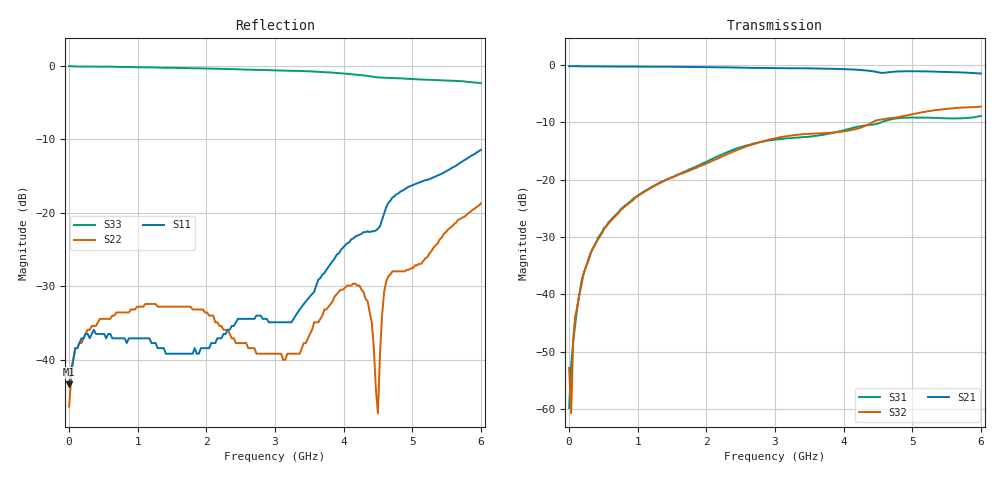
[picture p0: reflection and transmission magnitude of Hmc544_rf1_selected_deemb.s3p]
!Hittite Microwave Corporation
!20 Alpha Rd
!Chelmsford, MA 01824
!Tel: 978-250-3343
!Fax: 978-250-3373
!Device: HMC544, DC - 3 GHz  SPDT Switch in  SOT26 SMT package
!Misc: Port1=RFC, Port2= RF1, Port3=RF2, RF1 ON, Data taken on a part mounted on 101659-4 Eval PCB,Bias: +5VDC
# MHZ S MA R 50
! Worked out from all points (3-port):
!   201 points, 50 kHz to 6 GHz, reference 50 ohm
!   strongest paths, dB at 50 kHz, 1.5 GHz, 3 GHz, 4.5 GHz, 6 GHz:
!     S21: -0.2, -0.3, -0.6, -1.3, -1.5
!     S32: -52.9, -19.7, -12.8, -9.6, -7.3
!     S31: -59.8, -19.6, -13.0, -10.2, -8.9
!   lowest |S11| = -43.4 dB at 50 kHz (marker M1), VSWR 1.01, Z = 50.6 - j0.316 ohm
!   |S11| at or under -10 dB: start of sweep to end of sweep
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0.05  0.006796 -27.4  0.975 -0.2  0.0009298 -60.2
      0.975 -0.2  0.004801 -10.8  0.00413 -37.3
      0.001018 123.6  0.002276 -18.3  0.998 -0.4
30.05  0.008623 -10.1  0.974 -1.3  0.001394 113.8
       0.974 -1.3  0.00752 -2.1  0.0001448 -55.2
       0.00245 116.0  0.0009148 136.3  0.996 -1.6
60.049  0.01 8.1  0.974 -2.4  0.003722 107.8
        0.974 -2.4  0.01 8.1  0.003848 106.7
        0.003886 108.4  0.004114 110.9  0.995 -2.9
90.049  0.012 17.4  0.975 -3.6  0.005951 102.4
        0.975 -3.6  0.012 15.9  0.006663 96.1
        0.005539 101.4  0.006465 95.5  0.993 -4.2
360.047  0.016 20.4  0.97 -13.8  0.026 80.8
         0.97 -13.8  0.017 17.7  0.026 79.2
         0.026 80.7  0.026 79.1  0.992 -15.8
3000.025  0.018 92.5  0.94 -113.0  0.223 -30.2
          0.938 -113.1  0.011 6.9  0.229 -40.3
          0.223 -30.2  0.229 -40.4  0.934 -132.6
4230.015  0.071 69.7  0.904 -162.2  0.289 -75.3
          0.905 -162.1  0.032 28.1  0.28 -91.2
          0.291 -75.5  0.281 -91.5  0.868 169.5
4500.012  0.078 63.4  0.861 -172.8  0.307 -85.6
          0.863 -172.8  0.004321 97.6  0.329 -103.3
          0.308 -85.9  0.33 -103.6  0.837 157.5
4650.011  0.117 58.4  0.861 -176.3  0.329 -92.5
          0.863 -176.3  0.037 93.3  0.341 -111.8
          0.331 -92.8  0.342 -112.2  0.832 151.3
6000  0.269 1.3  0.838 125.5  0.36 -150.9
      0.841 125.4  0.116 27.9  0.436 176.6
      0.358 -150.5  0.432 176.9  0.765 89.5
